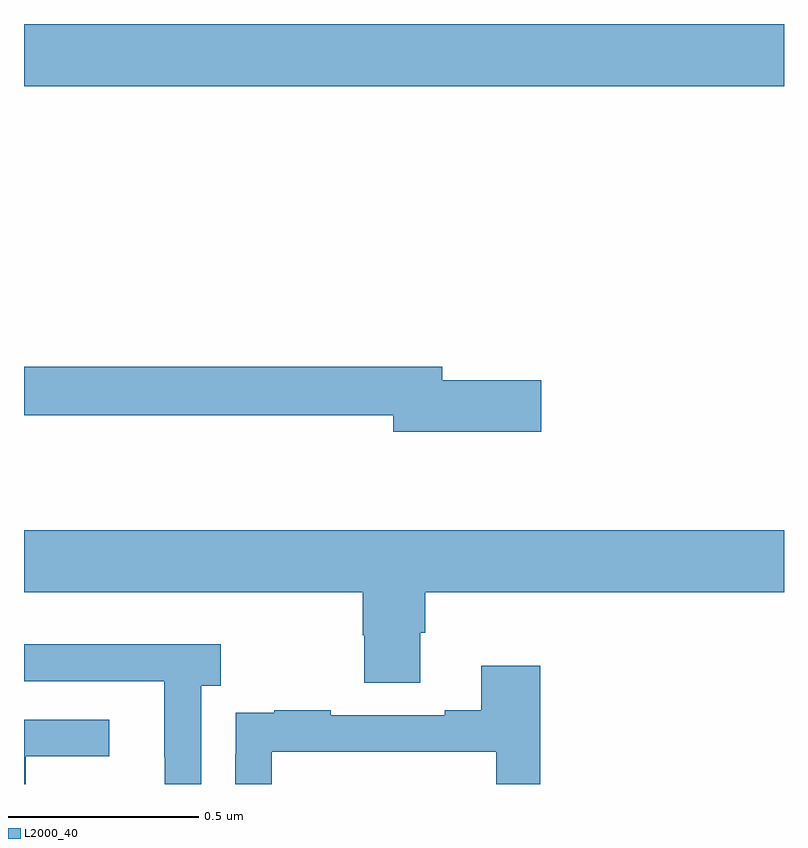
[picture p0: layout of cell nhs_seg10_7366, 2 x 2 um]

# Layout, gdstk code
import gdstk
lib = gdstk.Library(unit=1e-6, precision=1e-09)
def R(c, l, rs):  # rectangles x0, y0, x1, y1
    for r in rs: c.add(gdstk.rectangle(r[:2], r[2:], *l))
def P(c, l, *ps):  # polygons
    for p in ps: c.add(gdstk.Polygon(p, *l))
L2000_40 = (2000, 40)

nhs_seg10_7366 = lib.new_cell('nhs_seg10_7366')
R(nhs_seg10_7366, L2000_40, [(203,1280.336,205,1280.5)])
P(nhs_seg10_7366, L2000_40, [(204.361,1279.562),(204.1,1279.562),(204.1,1279.598),(203,1279.598),(203,1279.47),(203.972,1279.47),(203.972,1279.427),(204.361,1279.427)],
  [(204.043,1278.898),(204.056,1278.898),(204.056,1279.004),(205,1279.004),(205,1279.168),(203,1279.168),(203,1279.004),(203.891,1279.004),(203.891,1278.891),(203.896,1278.891),(203.896,1278.766),(204.043,1278.766)],
  [(203.466,1278.758),(203.518,1278.758),(203.518,1278.868),(203,1278.868),(203,1278.771),(203.369,1278.771),(203.369,1278.571),(203.37,1278.571),(203.37,1278.5),(203.466,1278.5)],
  [(203.652,1278.585),(204.243,1278.585),(204.243,1278.5),(204.359,1278.5),(204.359,1278.811),(204.203,1278.811),(204.203,1278.694),(204.107,1278.694),(204.107,1278.681),(203.807,1278.681),(203.807,1278.694),(203.659,1278.694),(203.659,1278.687),(203.557,1278.687),(203.557,1278.578),(203.556,1278.578),(203.556,1278.5),(203.652,1278.5)],
  [(203.004,1278.573),(203.224,1278.573),(203.224,1278.669),(203,1278.669),(203,1278.5),(203.004,1278.5)])

lib.write_gds('nhs_seg10_7366.gds')
